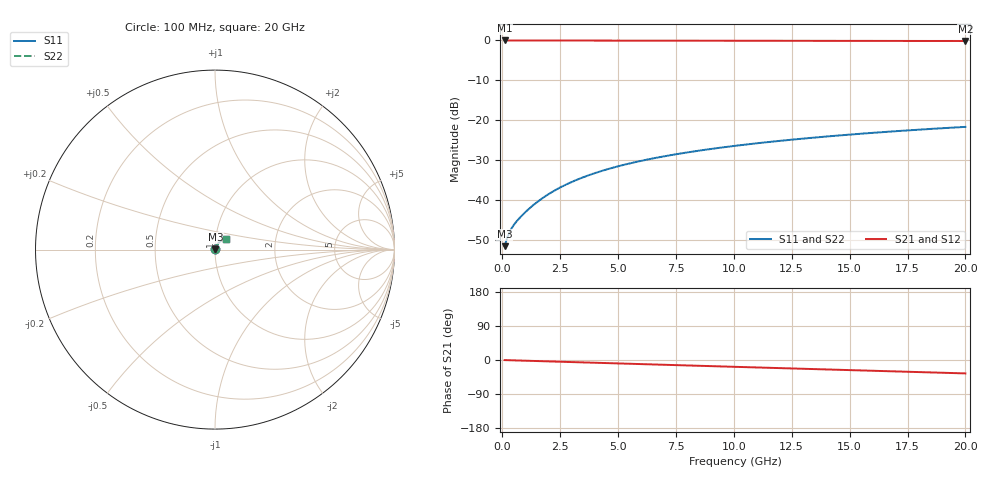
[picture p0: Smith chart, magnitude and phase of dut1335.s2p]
! Touchstone file exported from HFSS 2026.1.0
!  File:  C:/ffzhzh/LocalFiles/Ansys_Project_Files/temp_train_TMRDL_1335_1783165266_55132.aedt
!  Generated:  07:42:12 PM Jul  4, 2026
!  Design:  TMRDL
!  Project:  temp_train_TMRDL_1335_1783165266_55132
! Variables:
!  h_bsmrdl = 2um
!  h_ox = 20um
!  h_rdl = 5um
!  h_sub = 80um
!  h_tmrdl = 3.92um
!  h_tsv = 80um
!  h_via = 3um
!  l_bsmrdl = 300um
!  l_sub = 1017.97um
!  l_tmrdl = 617.97um
!  m_sub = 200um
!  pitch = 32.31um
!  r_tsv = 6um
!  s_tmrdl = 10um
!  w_bsmrdl = 18um
!  w_sub = 500um
!  w_tmrdl = 25.42um
!  x_tsv_center1 = 630.68um
!  x_tsv_center2 = 948.68um
!  x_tsv_center3 = 1592.07um
!  x_tsv_center4 = 1910.07um
!  x_tsv_center5 = 2553.46um
!  x_tsv_center6 = 2871.46um
# GHz S MA R 50.000000
! Terminal data exported
! Port[1] = TM_RDL1_1_T1
! Port[2] = TM_RDL1_1_T2
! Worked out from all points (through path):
!   200 points, 100 MHz to 20 GHz, reference 50 ohm
!   highest |S21| = -0.02 dB at 100 MHz (marker M1); lowest = -0.2 dB at 20 GHz (marker M2)
!   group delay of S21, straight-line fit = 4.9 ps
!   lowest |S11| = -51.4 dB at 100 MHz (marker M3), VSWR 1.01, Z = 50.2 + j0.0999 ohm
!   |S11| at or under -10 dB: start of sweep to end of sweep
!   |S22| runs from -51.4 to -21.6 dB; largest |S21 - S12| = 3e-15
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0.1  0.00268 21.8  0.9975 -0.2  0.9975 -0.2  0.00268 21.8
! Gamma 0 0 0 0
! Port Impedance 50 0 50 0
0.2  0.003332 32.7  0.9972 -0.4  0.9972 -0.4  0.003332 32.7
0.3  0.003953 37.9  0.9969 -0.6  0.9969 -0.6  0.003954 37.9
0.4  0.004484 41.1  0.9967 -0.8  0.9967 -0.8  0.004485 41.2
0.5  0.004955 43.9  0.9965 -1.0  0.9965 -1.0  0.004956 43.9
0.7  0.005831 48.7  0.9963 -1.3  0.9963 -1.3  0.005833 48.7
0.9  0.006707 52.8  0.9961 -1.7  0.9961 -1.7  0.006709 52.8
1.2  0.008079 57.6  0.9959 -2.2  0.9959 -2.2  0.008081 57.6
1.7  0.0105 62.6  0.9957 -3.1  0.9957 -3.1  0.0105 62.5
2.2  0.01299 65.2  0.9953 -4.0  0.9953 -4.0  0.01299 65.2
2.8  0.01601 66.7  0.9949 -5.1  0.9949 -5.1  0.01601 66.7
3.5  0.0195 67.2  0.9943 -6.4  0.9943 -6.4  0.0195 67.2
4.2  0.02291 67.0  0.9937 -7.7  0.9937 -7.7  0.02291 67.0
5  0.02669 66.3  0.9929 -9.1  0.9929 -9.1  0.02669 66.3
5.9  0.03079 65.3  0.9921 -10.7  0.9921 -10.7  0.03079 65.3
6.8  0.03475 64.1  0.9912 -12.3  0.9912 -12.3  0.03475 64.1
8.3  0.04107 62.0  0.9898 -14.9  0.9898 -14.9  0.04107 62.0
10.1  0.04829 59.5  0.9883 -18.1  0.9883 -18.1  0.04828 59.4
11.7  0.05443 57.1  0.9871 -20.9  0.9871 -20.9  0.05442 57.1
13.4  0.06073 54.7  0.9859 -23.9  0.9859 -23.9  0.06072 54.6
16.7  0.0723 49.7  0.9836 -29.6  0.9836 -29.6  0.07229 49.7
20  0.08298 44.7  0.9816 -35.4  0.9816 -35.4  0.08296 44.7
